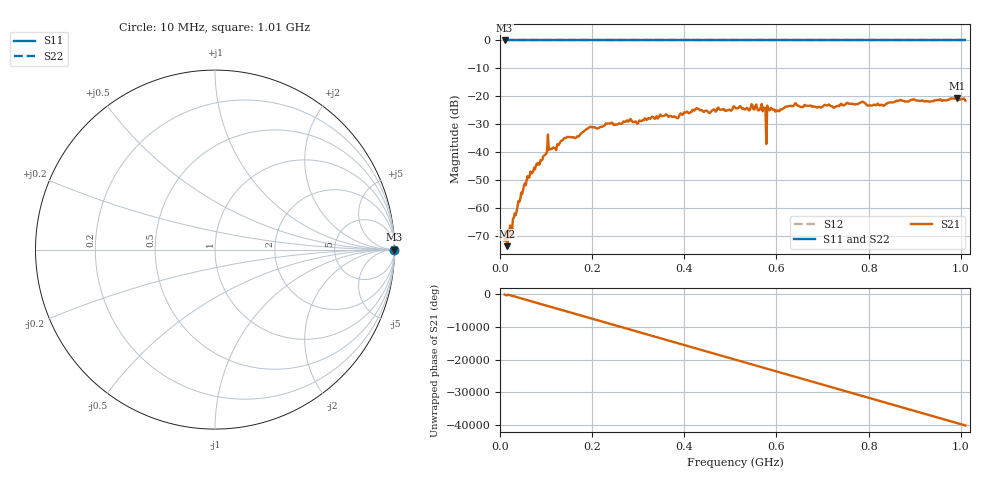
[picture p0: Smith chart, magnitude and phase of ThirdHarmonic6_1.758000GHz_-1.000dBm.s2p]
! 8/16/2025 9:13:17 PM
! C:\ANRITSUVNA\TEMP\TEMP.S2P
! CHANNEL.1
! TR.MEASUREMENT
! RAW.DATA
! RF.CORRECTION.OFF
! AVERAGING.OFF
! IF.BANDWIDTH: 5KHZ
! SWEEPTYPE:  FREQ.SWEEP(Linear)
! Reference Plane Port Info
! PORT:  PORT1  PORT2
! DISTANCE:  0  m  0  m
! TIME:  0  s  0  s
! PHASE.OFFSET:  0  deg.  0  deg.
! LOSS:  0  dB  0  dB
! REF.LOSS:  0  dB  0  dB
! REF.FREQ:  0  Hz  0  Hz
! Power Info
! POWER:  -20  dBm  -20  dBm
! EFF.POWER:  -20  dBm  -20  dBm
! SOURCE.ATTEN:  0  dB  0  dB
! TEST.ATTEN:  0  dB  0  dB
# GHZ S RI R 50.0
! FREQ.GHZ  S11RE  S11IM  S21RE  S21IM  S12RE  S12IM  S22RE  S22IM
!; PortSelection: Port_12
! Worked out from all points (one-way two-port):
!   501 points, 10 MHz to 1.01 GHz, reference 50 ohm
!   highest |S21| = -20.58 dB at 992 MHz (marker M1); lowest = -73.5 dB at 16 MHz (marker M2)
!   lowest |S11| = 0.0 dB at 10 MHz (marker M3)
!   |S11| at or under -10 dB: nowhere
!   |S22| runs from 0.0 to 0.0 dB; largest |S21 - S12| = 1.1
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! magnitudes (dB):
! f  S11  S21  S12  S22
! 10 MHz  0.0  -71.5  0.0  0.0
! 16 MHz  0.0  -73.5  0.0  0.0
! 24 MHz  0.0  -70.4  0.0  0.0
! 56 MHz  0.0  -51.8  0.0  0.0
! 100 MHz  0.0  -40.5  0.0  0.0
! 178 MHz  0.0  -32.9  0.0  0.0
! 234 MHz  0.0  -29.7  0.0  0.0
! 344 MHz  0.0  -27.6  0.0  0.0
! 384 MHz  0.0  -27.7  0.0  0.0
! 428 MHz  0.0  -24.2  0.0  0.0
! 454 MHz  0.0  -25.9  0.0  0.0
! 510 MHz  0.0  -23.9  0.0  0.0
! 572 MHz  0.0  -24.0  0.0  0.0
! 574 MHz  0.0  -24.3  0.0  0.0
! 582 MHz  0.0  -24.0  0.0  0.0
! 584 MHz  0.0  -25.0  0.0  0.0
! 602 MHz  0.0  -25.0  0.0  0.0
! 640 MHz  0.0  -22.6  0.0  0.0
! 678 MHz  0.0  -23.7  0.0  0.0
! 844 MHz  0.0  -22.2  0.0  0.0
! 992 MHz  0.0  -20.6  0.0  0.0
! 1.01 GHz  0.0  -21.5  0.0  0.0
